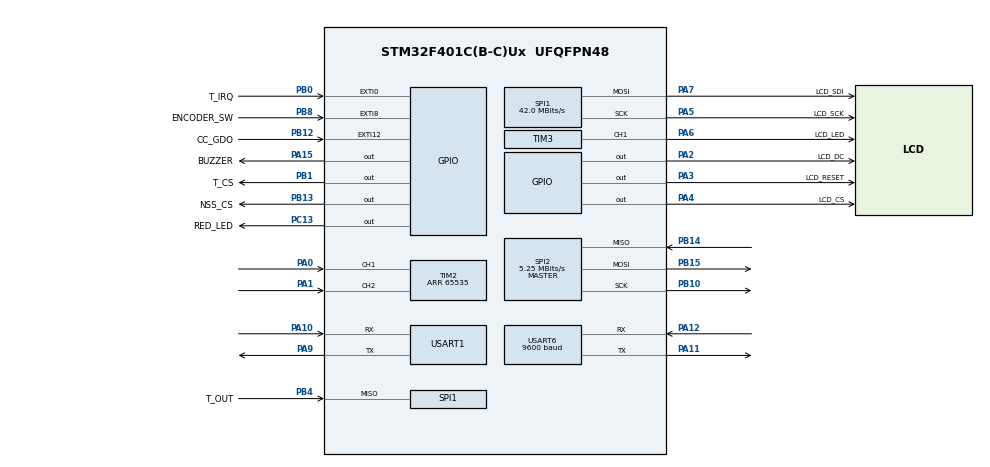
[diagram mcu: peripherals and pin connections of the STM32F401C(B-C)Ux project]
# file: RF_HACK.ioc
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ADC1.Channel-0\#ChannelRegularConversion=ADC_CHANNEL_VREFINT
ADC1.NbrOfConversionFlag=1
ADC1.Rank-0\#ChannelRegularConversion=1
ADC1.SamplingTime-0\#ChannelRegularConversion=ADC_SAMPLETIME_3CYCLES
ADC1.master=1
Dma.Request0=SPI1_TX
Dma.SPI1_TX.0.Direction=DMA_MEMORY_TO_PERIPH
Dma.SPI1_TX.0.FIFOMode=DMA_FIFOMODE_DISABLE
Dma.SPI1_TX.0.Instance=DMA2_Stream3
Dma.SPI1_TX.0.MemDataAlignment=DMA_MDATAALIGN_HALFWORD
Dma.SPI1_TX.0.MemInc=DMA_MINC_ENABLE
Dma.SPI1_TX.0.Mode=DMA_NORMAL
Dma.SPI1_TX.0.PeriphDataAlignment=DMA_PDATAALIGN_HALFWORD
Dma.SPI1_TX.0.PeriphInc=DMA_PINC_DISABLE
Dma.SPI1_TX.0.Priority=DMA_PRIORITY_LOW
IWDG.Prescaler=IWDG_PRESCALER_8
Mcu.Family=STM32F4
Mcu.Name=STM32F401C(B-C)Ux
Mcu.Package=UFQFPN48
NVIC.DMA2_Stream3_IRQn=true\:5\:0\:true\:false\:true\:false\:true
NVIC.EXTI0_IRQn=true\:5\:0\:true\:false\:true\:true\:true
NVIC.EXTI15_10_IRQn=true\:0\:0\:false\:false\:true\:true\:true
NVIC.EXTI9_5_IRQn=true\:0\:0\:false\:false\:true\:true\:true
NVIC.PriorityGroup=NVIC_PRIORITYGROUP_4
NVIC.TIM1_UP_TIM10_IRQn=true\:15\:0\:false\:false\:true\:false\:true
NVIC.TimeBase=TIM1_UP_TIM10_IRQn
NVIC.TimeBaseIP=TIM1
NVIC.USART1_IRQn=true\:0\:0\:false\:false\:true\:true\:true
NVIC.USART6_IRQn=true\:6\:0\:true\:false\:true\:true\:true
PA0-WKUP.Signal=S_TIM2_CH1_ETR
PA1.Signal=S_TIM2_CH2
PA10.Mode=Asynchronous
PA10.Signal=USART1_RX
PA11.Mode=Asynchronous
PA11.Signal=USART6_TX
PA12.Mode=Asynchronous
PA12.Signal=USART6_RX
PA13.Mode=Serial_Wire
PA13.Signal=SYS_JTMS-SWDIO
PA14.Mode=Serial_Wire
PA14.Signal=SYS_JTCK-SWCLK
PA15.GPIO_Label=BUZZER
PA15.Signal=GPIO_Output
PA2.GPIO_Label=LCD_DC
PA2.GPIO_Speed=GPIO_SPEED_FREQ_HIGH
PA2.PinState=GPIO_PIN_SET
PA2.Signal=GPIO_Output
PA3.GPIO_Label=LCD_RESET
PA3.GPIO_Speed=GPIO_SPEED_FREQ_HIGH
PA3.PinState=GPIO_PIN_SET
PA3.Signal=GPIO_Output
PA4.GPIO_Label=LCD_CS
PA4.GPIO_PuPd=GPIO_PULLUP
PA4.GPIO_Speed=GPIO_SPEED_FREQ_HIGH
PA4.PinState=GPIO_PIN_SET
PA4.Signal=GPIO_Output
PA5.GPIO_Label=LCD_SCK
PA5.GPIO_PuPd=GPIO_NOPULL
PA5.Mode=Full_Duplex_Master
PA5.Signal=SPI1_SCK
PA6.GPIO_Label=LCD_LED
PA6.Signal=S_TIM3_CH1
PA7.GPIO_Label=LCD_SDI
PA7.GPIO_PuPd=GPIO_NOPULL
PA7.Mode=Full_Duplex_Master
PA7.Signal=SPI1_MOSI
PA9.Mode=Asynchronous
PA9.Signal=USART1_TX
PB0.GPIO_Label=T_IRQ
PB0.GPIO_ModeDefaultEXTI=GPIO_MODE_IT_FALLING
PB0.GPIO_PuPd=GPIO_PULLUP
PB0.Signal=GPXTI0
PB1.GPIO_Label=T_CS
PB1.GPIO_PuPd=GPIO_PULLUP
PB1.GPIO_Speed=GPIO_SPEED_FREQ_HIGH
PB1.PinState=GPIO_PIN_SET
PB1.Signal=GPIO_Output
PB10.Mode=Full_Duplex_Master
PB10.Signal=SPI2_SCK
PB12.GPIO_Label=CC_GDO
PB12.GPIO_ModeDefaultEXTI=GPIO_MODE_IT_FALLING
PB12.GPIO_PuPd=GPIO_PULLUP
PB12.Signal=GPXTI12
PB13.GPIO_Label=NSS_CS
PB13.GPIO_Speed=GPIO_SPEED_FREQ_MEDIUM
PB13.Signal=GPIO_Output
PB14.Mode=Full_Duplex_Master
PB14.Signal=SPI2_MISO
PB15.Mode=Full_Duplex_Master
PB15.Signal=SPI2_MOSI
PB4.GPIO_Label=T_OUT
PB4.GPIO_PuPd=GPIO_PULLUP
PB4.Mode=Full_Duplex_Master
PB4.Signal=SPI1_MISO
PB8.GPIO_Label=ENCODER_SW
PB8.GPIO_ModeDefaultEXTI=GPIO_MODE_IT_FALLING
PB8.GPIO_PuPd=GPIO_PULLUP
PB8.Signal=GPXTI8
PC13-ANTI_TAMP.GPIO_Label=RED_LED
PC13-ANTI_TAMP.Signal=GPIO_Output
PH0\ -\ OSC_IN.Mode=HSE-External-Oscillator
PH0\ -\ OSC_IN.Signal=RCC_OSC_IN
PH1\ -\ OSC_OUT.Mode=HSE-External-Oscillator
PH1\ -\ OSC_OUT.Signal=RCC_OSC_OUT
ProjectManager.HeapSize=0x0
ProjectManager.StackSize=0x800
ProjectManager.TargetToolchain=Makefile
RCC.48MHZClocksFreq_Value=42000000
RCC.AHBFreq_Value=84000000
RCC.APB1CLKDivider=RCC_HCLK_DIV8
RCC.APB1Freq_Value=10500000
RCC.APB1TimFreq_Value=21000000
RCC.APB2Freq_Value=84000000
RCC.APB2TimFreq_Value=84000000
RCC.CortexFreq_Value=84000000
RCC.EnbaleCSS=true
RCC.HCLKFreq_Value=84000000
RCC.HSE_VALUE=25000000
RCC.HSI_VALUE=16000000
RCC.LSE_VALUE=32768
RCC.PLLM=25
RCC.PLLN=168
RCC.PLLSourceVirtual=RCC_PLLSOURCE_HSE
RCC.SYSCLKFreq_VALUE=84000000
RCC.SYSCLKSource=RCC_SYSCLKSOURCE_PLLCLK
RCC.VCOOutputFreq_Value=168000000
SH.S_TIM2_CH1_ETR.0=TIM2_CH1,Encoder_Interface
SH.S_TIM2_CH2.0=TIM2_CH2,Encoder_Interface
SH.S_TIM3_CH1.0=TIM3_CH1,PWM Generation1 CH1
SPI1.BaudRatePrescaler=SPI_BAUDRATEPRESCALER_2
SPI1.CLKPolarity=SPI_POLARITY_LOW
SPI1.CalculateBaudRate=42.0 MBits/s
SPI1.DataSize=SPI_DATASIZE_16BIT
SPI1.Direction=SPI_DIRECTION_2LINES
SPI1.Mode=SPI_MODE_MASTER
SPI1.VirtualType=VM_MASTER
SPI2.CalculateBaudRate=5.25 MBits/s
SPI2.Direction=SPI_DIRECTION_2LINES
SPI2.Mode=SPI_MODE_MASTER
SPI2.VirtualType=VM_MASTER
TIM2.Period=65535
TIM3.Channel-PWM\ Generation1\ CH1=TIM_CHANNEL_1
TIM3.Period=209
TIM3.Prescaler=999
TIM3.Pulse-PWM\ Generation1\ CH1=104
USART1.VirtualMode=VM_ASYNC
USART6.BaudRate=9600
USART6.VirtualMode=VM_ASYNC
VP_ADC1_Vref_Input.Mode=IN-Vrefint
VP_IWDG_VS_IWDG.Mode=IWDG_Activate
VP_SYS_VS_tim1.Mode=TIM1
board=custom

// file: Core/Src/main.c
/* USER CODE BEGIN Header */

/*
 * RF_HACK project 2024
 * Malyshev Sergey UB8CGJ
 *
 * https://github.com/sergey12malyshev/RF_HACK
 *
 * GPL-3.0 license
 */

/* USER CODE END Header */
#include "main.h"
#include "adc.h"
#include "dma.h"
#include "iwdg.h"
#include "spi.h"
#include "tim.h"
#include "usart.h"
#include "gpio.h"

/* USER CODE BEGIN Includes */
#include <stdlib.h>
#include <stdio.h>
#include <string.h>
#include <stdbool.h>

#include "workStates.h"
#include "configFile.h"

#include "sheduler.h"

#include "display.h"
#include "ili9341.h"
#include "xpt2046.h"
#include "calibrate_touch.h"
#include "demo.h"
#include "displayInit.h"

#include "button_Thread.h"
#include "gps_Thread.h"

#include "runBootloader.h"
#include "buzzer_driver.h"

#include "gps.h"
#include "cc1101.h"

#include "cli_driver.h"
#include "cli_thread.h"

#include "encoderDriver.h"
#include "application_Thread.h"
#include "button_Thread.h"
#include "subGHz_RX_Thread.h"
#include "subGHz_TX_Thread.h"
#include "spectrumScan_Thread.h"
#include "jammer_Thread.h"
#include "configFile.h"

#include "test.h"

/* USER CODE END Includes */

/* USER CODE BEGIN PM */
#define GCC_VERSION ((__GNUC__ * 100) + (__GNUC_MINOR__ * 10) + ( __GNUC_PATCHLEVEL__ ))

// Firmware builds require at least GCC 5.4.1
#if (GCC_VERSION < 541)
	#error "GCC compiler >= 5.4.1 required"
  #pragma message("GCC is " STR(__GNUC__)"."STR(__GNUC_MINOR__)"."STR(__GNUC_PATCHLEVEL__))
#endif
/* USER CODE END PM */

void SystemClock_Config(void);

/* USER CODE BEGIN 0 */

void checkResetSourse(void)
{
  if (__HAL_RCC_GET_FLAG(RCC_FLAG_PORRST) != RESET)
  {
    DEBUG_PRINT(CLI_SYS"PORRST"CLI_NEW_LINE);
  }
  else if (__HAL_RCC_GET_FLAG(RCC_FLAG_SFTRST) != RESET)
  {
    DEBUG_PRINT(CLI_SYS"SFTRST"CLI_NEW_LINE);
  }
  else if (__HAL_RCC_GET_FLAG(RCC_FLAG_IWDGRST) != RESET)
  {
    DEBUG_PRINT(CLI_SYS"IWDGRST"CLI_NEW_LINE);
  }
  else if (__HAL_RCC_GET_FLAG(RCC_FLAG_PINRST) != RESET)
  {
    DEBUG_PRINT(CLI_SYS"PINRST"CLI_NEW_LINE);
  }
  __HAL_RCC_CLEAR_RESET_FLAGS();
}

static void stm32_cacheEnable(void)
{
#if (INSTRUCTION_CACHE_ENABLE != 0U) /* Enable caching instructions */
  ((FLASH_TypeDef *) ((0x40000000UL + 0x00020000UL) + 0x3C00UL))->ACR |= (0x1UL << (9U));
#endif

#if (DATA_CACHE_ENABLE != 0U) /* Enabling data caching */
  ((FLASH_TypeDef *) ((0x40000000UL + 0x00020000UL) + 0x3C00UL))->ACR |= (0x1UL << (10U));
#endif

#if (PREFETCH_ENABLE != 0U) /* Enabling the instruction prefetch system */
  ((FLASH_TypeDef *) ((0x40000000UL + 0x00020000UL) + 0x3C00UL))->ACR |= (0x1UL << (8U));
#endif
}
/* USER CODE END 0 */

int main(void)
{
  /* USER CODE BEGIN 1 */
  stm32_cacheEnable();
  /* USER CODE END 1 */

  /* MCU Configuration--------------------------------------------------------*/

  /* Reset of all peripherals, Initializes the Flash interface and the Systick. */
  HAL_Init();

  /* Configure the system clock */
  SystemClock_Config();

  /* USER CODE BEGIN SysInit */

  SysTick_Config(SystemCoreClock/1000); //Setting up the system timer (interrupts 1000 times per second)
  /* USER CODE END SysInit */

  /* Initialize all configured peripherals */
  MX_GPIO_Init();
  MX_DMA_Init();
  MX_SPI1_Init();
  MX_TIM3_Init();
  MX_USART1_UART_Init();
  MX_USART6_UART_Init();
  MX_SPI2_Init();
  MX_ADC1_Init();
  MX_IWDG_Init();
  MX_TIM2_Init();
  /* USER CODE BEGIN 2 */

#ifndef  LCD_DYNAMIC_MEM
  LCD_Handler lcd1;
#endif

  LCD = LCD_DisplayAdd(LCD,
#ifndef  LCD_DYNAMIC_MEM
            &lcd1,
#endif
             240,
             320,
             ILI9341_CONTROLLER_WIDTH,
             ILI9341_CONTROLLER_HEIGHT,
             //Setting the width and height offset for non-standard or defective displays:
             0,    //offset in width of the display matrix
             0,    //height offset of the display matrix
             PAGE_ORIENTATION_PORTRAIT,
             ILI9341_Init,
             ILI9341_SetWindow,
             ILI9341_SleepIn,
             ILI9341_SleepOut,
             displayInit_getSpiPortSettings(),
             LCD_DATA_16BIT_BUS,
             bkl_data);

  lcd = LCD;     //Pointer to the first display in the list
  LCD_Init(lcd);
  LCD_Fill(lcd, COLOR_RED);

  XPT2046_InitTouch(&touch1, 20, &cnt_touch);   //initializing the handler XPT2046

#if !CALIBRATE_EN
  touch1.coef = *displayInit_getCalibrationCoefficient();
#else
  calibrateTouchEnable();
#endif

#if RUN_LCD_DEMO
  LCD_Fill(lcd, COLOR_WHITE);
  Draw_TouchPenDemo(&touch1, lcd);
  RoadCircleDemo(&touch1, lcd);
#endif
  LCD_Fill(lcd, COLOR_BLACK);
  /* USER CODE END 2 */

  /* Infinite loop */
  /* USER CODE BEGIN WHILE */

#if CLI_ENABLE
  cli_init();
#endif // CLI_ENABLE

  debugPrintf("C++ test: %s"CLI_NEW_LINE, test_cpp_function() ? "true" : "false");

  buzzer_init(BUZZER_GPIO_Port, BUZZER_Pin);
  buzzer_soundOn(BUZZ_SOUND_TEST);
  debugPrintf("Buzzer test..."CLI_NEW_LINE);

  adc_enable();

  debugPrintf("CC1101 init..."CLI_NEW_LINE);
  LCD_WriteString(lcd, 5, 25, "CC1101 int...",
            &Font_8x13, COLOR_WHITE, COLOR_BLACK, LCD_SYMBOL_PRINT_FAST);

#if CC1101_CUSTOM_OLD_CONFIG
  CC1101_setCarrierFreq(CFREQ_433);
  CC1101_setDevAddress(1);
#endif

  bool error_state = CC1101_init(&hspi2,
                NSS_CS_GPIO_Port, NSS_CS_Pin,      // CS pin
                GPIOB, LL_GPIO_PIN_14,             // MISO pin
                GPIOB, LL_GPIO_PIN_12);            // GDO pin

  if (!error_state)
  {
    debugPrintf(CLI_OK"CC1101 init pass"CLI_NEW_LINE);
  }
  else
  {
    LCD_WriteString(lcd, 5, 55, "CC1101 not found!",
            &Font_8x13, COLOR_WHITE, COLOR_RED, LCD_SYMBOL_PRINT_FAST);
    while (1)
    {
      IWDG_reload();
    }
  }

  encoder_init();

    /* USER CODE END WHILE */

    /* USER CODE BEGIN 3 */

  scheduler_run();

  /* USER CODE END 3 */
}

void SystemClock_Config(void)
{
  LL_FLASH_SetLatency(LL_FLASH_LATENCY_2);
  while(LL_FLASH_GetLatency()!= LL_FLASH_LATENCY_2)
  {
  }
  LL_PWR_SetRegulVoltageScaling(LL_PWR_REGU_VOLTAGE_SCALE2);
  LL_RCC_HSE_Enable();

   /* Wait till HSE is ready */
  while(LL_RCC_HSE_IsReady() != 1)
  {

  }
  LL_RCC_LSI_Enable();

   /* Wait till LSI is ready */
  while(LL_RCC_LSI_IsReady() != 1)
  {

  }
  LL_RCC_HSE_EnableCSS();
  LL_RCC_PLL_ConfigDomain_SYS(LL_RCC_PLLSOURCE_HSE, LL_RCC_PLLM_DIV_25, 168, LL_RCC_PLLP_DIV_2);
  LL_RCC_PLL_Enable();

   /* Wait till PLL is ready */
  while(LL_RCC_PLL_IsReady() != 1)
  {

  }
  LL_RCC_SetAHBPrescaler(LL_RCC_SYSCLK_DIV_1);
  LL_RCC_SetAPB1Prescaler(LL_RCC_APB1_DIV_8);
  LL_RCC_SetAPB2Prescaler(LL_RCC_APB2_DIV_1);
  LL_RCC_SetSysClkSource(LL_RCC_SYS_CLKSOURCE_PLL);

   /* Wait till System clock is ready */
  while(LL_RCC_GetSysClkSource() != LL_RCC_SYS_CLKSOURCE_STATUS_PLL)
  {

  }
  LL_SetSystemCoreClock(84000000);

   /* Update the time base */
  if (HAL_InitTick (TICK_INT_PRIORITY) != HAL_OK)
  {
    Error_Handler();
  }
  LL_RCC_SetTIMPrescaler(LL_RCC_TIM_PRESCALER_TWICE);
}

void HAL_TIM_PeriodElapsedCallback(TIM_HandleTypeDef *htim)
{
  if (htim->Instance == TIM1) {
    HAL_IncTick();
  }
}

void Error_Handler(void)
{
  /* USER CODE BEGIN Error_Handler_Debug */
  /* User can add his own implementation to report the HAL error return state */
  __disable_irq();

  debugPrintf("HAL_ERROR!\r\n");
  while (1)
  {
  }
  /* USER CODE END Error_Handler_Debug */
}

#ifdef  USE_FULL_ASSERT
/**
  * @brief  Reports the name of the source file and the source line number
  *         where the assert_param error has occurred.
  * @param  file: pointer to the source file name
  * @param  line: assert_param error line source number
  * @retval None
  */
void assert_failed(uint8_t *file, uint32_t line)
{
  /* USER CODE BEGIN 6 */
  /* User can add his own implementation to report the file name and line number,
     ex: printf("Wrong parameters value: file %s on line %d\r\n", file, line) */
  debugPrintf("Wrong parameters value: file %s on line %d\r\n", file, line);
  while(1);
  /* USER CODE END 6 */
}
#endif /* USE_FULL_ASSERT */

/************************ (C) COPYRIGHT STMicroelectronics *****END OF FILE****/
